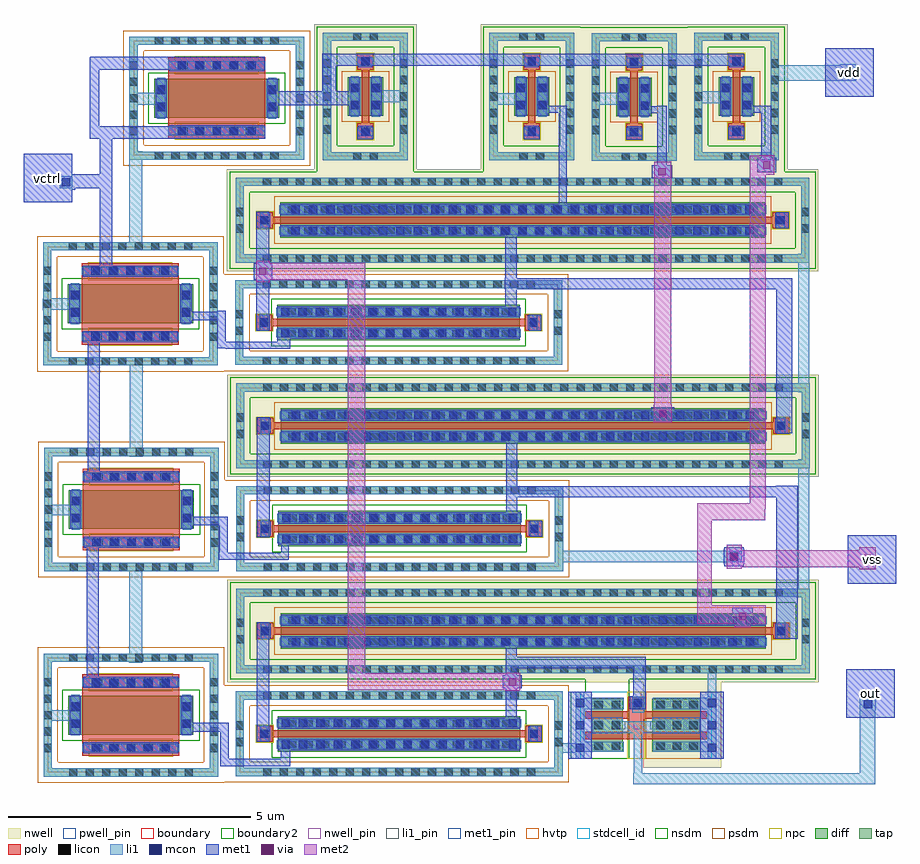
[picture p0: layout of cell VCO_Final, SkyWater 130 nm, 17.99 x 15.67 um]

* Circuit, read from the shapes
.subckt VCO_Final out vctrl vdd vss
XM1 n1 vctrl vss vss sky130_fd_pr__nfet_01v8 w=0.8 l=2
XM2 n2 vctrl vss vss sky130_fd_pr__nfet_01v8 w=0.8 l=2
XM3 n3 vctrl vss vss sky130_fd_pr__nfet_01v8 w=0.8 l=2
XM4 n4 vctrl vss vss sky130_fd_pr__nfet_01v8 w=0.8 l=2
XM5 n5 sky130_fd_sc_hd__inv_2_3/A n1 vss sky130_fd_pr__nfet_01v8 w=5 l=0.15
XM6 sky130_fd_sc_hd__inv_2_3/A n6 n2 vss sky130_fd_pr__nfet_01v8 w=5 l=0.15
XM7 n6 n5 n3 vss sky130_fd_pr__nfet_01v8 w=5 l=0.15
XM8 out sky130_fd_sc_hd__inv_2_3/A vss vss sky130_fd_pr__nfet_01v8 w=0.65 l=0.15 m=2
XM9 n7 sky130_fd_sc_hd__inv_2_3/A n5 vdd sky130_fd_pr__pfet_01v8 w=10 l=0.15
XM10 n8 n6 sky130_fd_sc_hd__inv_2_3/A vdd sky130_fd_pr__pfet_01v8 w=10 l=0.15
XM11 n9 n5 n6 vdd sky130_fd_pr__pfet_01v8 w=10 l=0.15
XM12 vdd n4 n4 vdd sky130_fd_pr__pfet_01v8 w=0.8 l=0.15
XM13 n7 n4 vdd vdd sky130_fd_pr__pfet_01v8 w=0.8 l=0.15
XM14 n9 n4 vdd vdd sky130_fd_pr__pfet_01v8 w=0.8 l=0.15
XM15 out sky130_fd_sc_hd__inv_2_3/A vdd vdd sky130_fd_pr__pfet_01v8_hvt w=1 l=0.15 m=2
XM16 n8 n4 vdd vdd sky130_fd_pr__pfet_01v8 w=0.8 l=0.15
.ends

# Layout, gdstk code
from math import pi, radians
import gdstk
lib = gdstk.Library(unit=1e-6, precision=1e-09)
def R(c, l, rs):  # rectangles x0, y0, x1, y1
    for r in rs: c.add(gdstk.rectangle(r[:2], r[2:], *l))
def A(c, l, x, y, w, h, nx, ny, dx, dy):  # array of equal rectangles
    R(c, l, [(x+i*dx, y+j*dy, x+i*dx+w, y+j*dy+h) for i in range(nx) for j in range(ny)])
def P(c, l, *ps):  # polygons
    for p in ps: c.add(gdstk.Polygon(p, *l))
nwell_pin = (64, 16)
nwell = (64, 20)
diff = (65, 20)
tap = (65, 44)
poly = (66, 20)
licon = (66, 44)
li1_pin = (67, 16)
li1 = (67, 20)
mcon = (67, 44)
met1_pin = (68, 16)
met1 = (68, 20)
via = (68, 44)
met2 = (69, 20)
hvtp = (78, 44)
stdcell_id = (81, 4)
nsdm = (93, 44)
psdm = (94, 20)
npc = (95, 20)
pwell_pin = (122, 16)
boundary = (235, 4)
boundary2 = (236, 0)

sky130_fd_pr__pfet_01v8_ = lib.new_cell('sky130_fd_pr__pfet_01v8_XGA8MR')
R(sky130_fd_pr__pfet_01v8_, nwell, [(-1.055,-6.095,1.055,6.095)])
R(sky130_fd_pr__pfet_01v8_, diff, [(-0.365,-5,0.365,5)])
R(sky130_fd_pr__pfet_01v8_, tap, [(-0.875,-5.915,0.875,-5.745), (-0.875,-5.745,-0.705,5.745), (0.705,-5.745,0.875,5.745), (-0.875,5.745,0.875,5.915)])
R(sky130_fd_pr__pfet_01v8_, poly, [(-0.165,-5.485,0.165,-5.155), (-0.075,-5.155,0.075,5.155), (-0.165,5.155,0.165,5.485)])
A(sky130_fd_pr__pfet_01v8_, licon, -0.875, -5.355, 0.17, 0.17, 1, 32, 0, 0.34)
A(sky130_fd_pr__pfet_01v8_, licon, 0.705, -5.355, 0.17, 0.17, 1, 32, 0, 0.34)
A(sky130_fd_pr__pfet_01v8_, licon, -0.305, -4.845, 0.17, 0.17, 1, 29, 0, 0.34)
A(sky130_fd_pr__pfet_01v8_, licon, 0.135, -4.845, 0.17, 0.17, 1, 29, 0, 0.34)
R(sky130_fd_pr__pfet_01v8_, licon, [(-0.255,-5.915,-0.085,-5.745), (0.085,-5.915,0.255,-5.745), (-0.085,-5.405,0.085,-5.235), (-0.085,5.235,0.085,5.405), (-0.255,5.745,-0.085,5.915), (0.085,5.745,0.255,5.915)])
R(sky130_fd_pr__pfet_01v8_, li1, [(-0.875,-5.915,0.875,-5.745), (-0.875,-5.745,-0.705,5.745), (0.705,-5.745,0.875,5.745), (-0.165,-5.405,0.165,-5.235), (-0.305,-5.02,-0.135,5.02), (0.135,-5.02,0.305,5.02), (-0.165,5.235,0.165,5.405), (-0.875,5.745,0.875,5.915)])
A(sky130_fd_pr__pfet_01v8_, mcon, -0.305, -4.765, 0.17, 0.17, 1, 27, 0, 0.36)
A(sky130_fd_pr__pfet_01v8_, mcon, 0.135, -4.765, 0.17, 0.17, 1, 27, 0, 0.36)
R(sky130_fd_pr__pfet_01v8_, mcon, [(-0.085,-5.405,0.085,-5.235), (-0.085,5.235,0.085,5.405)])
R(sky130_fd_pr__pfet_01v8_, met1, [(-0.145,-5.435,0.145,-5.205), (-0.335,-5,-0.105,5), (0.105,-5,0.335,5), (-0.145,5.205,0.145,5.435)])
R(sky130_fd_pr__pfet_01v8_, nsdm, [(-1,-6.04,1,-5.62), (-1,-5.62,-0.58,5.62), (0.58,-5.62,1,5.62), (-1,5.62,1,6.04)])
R(sky130_fd_pr__pfet_01v8_, psdm, [(-0.49,-5.125,0.49,5.125)])
R(sky130_fd_pr__pfet_01v8_, npc, [(-0.185,-5.505,0.185,-5.135), (-0.185,5.135,0.185,5.505)])
R(sky130_fd_pr__pfet_01v8_, boundary, [(-0.79,-5.83,0.79,5.83)])

sky130_fd_pr__nfet_01v8_ = lib.new_cell('sky130_fd_pr__nfet_01v8_MMRDEV')
R(sky130_fd_pr__nfet_01v8_, diff, [(-1.29,-0.4,1.29,0.4)])
R(sky130_fd_pr__nfet_01v8_, tap, [(-1.8,-1.27,1.8,-1.1), (-1.8,-1.1,-1.63,1.1), (1.63,-1.1,1.8,1.1), (-1.8,1.1,1.8,1.27)])
R(sky130_fd_pr__nfet_01v8_, poly, [(-1,-0.84,1,0.84)])
A(sky130_fd_pr__nfet_01v8_, licon, -1.275, -1.27, 0.17, 0.17, 8, 2, 0.34, 2.37)
A(sky130_fd_pr__nfet_01v8_, licon, -1.8, -0.765, 0.17, 0.17, 1, 5, 0, 0.34)
A(sky130_fd_pr__nfet_01v8_, licon, 1.63, -0.765, 0.17, 0.17, 1, 5, 0, 0.34)
A(sky130_fd_pr__nfet_01v8_, licon, -0.765, -0.76, 0.17, 0.17, 5, 2, 0.34, 1.35)
R(sky130_fd_pr__nfet_01v8_, licon, [(-1.23,-0.255,-1.06,-0.085), (1.06,-0.255,1.23,-0.085), (-1.23,0.085,-1.06,0.255), (1.06,0.085,1.23,0.255)])
R(sky130_fd_pr__nfet_01v8_, li1, [(-1.8,-1.27,1.8,-1.1), (-1.8,-1.1,-1.63,1.1), (1.63,-1.1,1.8,1.1), (-1,-0.76,1,-0.59), (-1.23,-0.42,-1.06,0.42), (1.06,-0.42,1.23,0.42), (-1,0.59,1,0.76), (-1.8,1.1,1.8,1.27)])
A(sky130_fd_pr__nfet_01v8_, mcon, -0.805, -0.76, 0.17, 0.17, 5, 2, 0.36, 1.35)
R(sky130_fd_pr__nfet_01v8_, mcon, [(-1.23,-0.265,-1.06,-0.095), (1.06,-0.265,1.23,-0.095), (-1.23,0.095,-1.06,0.265), (1.06,0.095,1.23,0.265)])
R(sky130_fd_pr__nfet_01v8_, met1, [(-0.98,-0.79,0.98,-0.56), (-1.26,-0.4,-1.03,0.4), (1.03,-0.4,1.26,0.4), (-0.98,0.56,0.98,0.79)])
R(sky130_fd_pr__nfet_01v8_, nsdm, [(-1.415,-0.525,1.415,0.525)])
R(sky130_fd_pr__nfet_01v8_, psdm, [(-1.925,-1.395,1.925,-0.975), (-1.925,-0.975,-1.505,0.975), (1.505,-0.975,1.925,0.975), (-1.925,0.975,1.925,1.395)])
R(sky130_fd_pr__nfet_01v8_, npc, [(-0.865,-0.86,0.865,-0.49), (-0.865,0.49,0.865,0.86)])
R(sky130_fd_pr__nfet_01v8_, boundary, [(-1.71,-1.18,1.71,1.18)])

c_sky130_fd_pr__nfet_01v8_ = lib.new_cell('sky130_fd_pr__nfet_01v8_BBNS5X')
R(c_sky130_fd_pr__nfet_01v8_, diff, [(-0.365,-2.5,0.365,2.5)])
R(c_sky130_fd_pr__nfet_01v8_, tap, [(-0.875,-3.37,0.875,-3.2), (-0.875,-3.2,-0.705,3.2), (0.705,-3.2,0.875,3.2), (-0.875,3.2,0.875,3.37)])
R(c_sky130_fd_pr__nfet_01v8_, poly, [(-0.165,-2.94,0.165,-2.61), (-0.075,-2.61,0.075,2.61), (-0.165,2.61,0.165,2.94)])
A(c_sky130_fd_pr__nfet_01v8_, licon, -0.875, -2.805, 0.17, 0.17, 1, 17, 0, 0.34)
A(c_sky130_fd_pr__nfet_01v8_, licon, 0.705, -2.805, 0.17, 0.17, 1, 17, 0, 0.34)
A(c_sky130_fd_pr__nfet_01v8_, licon, -0.305, -2.295, 0.17, 0.17, 1, 14, 0, 0.34)
A(c_sky130_fd_pr__nfet_01v8_, licon, 0.135, -2.295, 0.17, 0.17, 1, 14, 0, 0.34)
R(c_sky130_fd_pr__nfet_01v8_, licon, [(-0.255,-3.37,-0.085,-3.2), (0.085,-3.37,0.255,-3.2), (-0.085,-2.86,0.085,-2.69), (-0.085,2.69,0.085,2.86), (-0.255,3.2,-0.085,3.37), (0.085,3.2,0.255,3.37)])
R(c_sky130_fd_pr__nfet_01v8_, li1, [(-0.875,-3.37,0.875,-3.2), (-0.875,-3.2,-0.705,3.2), (0.705,-3.2,0.875,3.2), (-0.165,-2.86,0.165,-2.69), (-0.305,-2.52,-0.135,2.52), (0.135,-2.52,0.305,2.52), (-0.165,2.69,0.165,2.86), (-0.875,3.2,0.875,3.37)])
A(c_sky130_fd_pr__nfet_01v8_, mcon, -0.305, -2.425, 0.17, 0.17, 1, 14, 0, 0.36)
A(c_sky130_fd_pr__nfet_01v8_, mcon, 0.135, -2.425, 0.17, 0.17, 1, 14, 0, 0.36)
R(c_sky130_fd_pr__nfet_01v8_, mcon, [(-0.085,-2.86,0.085,-2.69), (-0.085,2.69,0.085,2.86)])
R(c_sky130_fd_pr__nfet_01v8_, met1, [(-0.145,-2.89,0.145,-2.66), (-0.335,-2.5,-0.105,2.5), (0.105,-2.5,0.335,2.5), (-0.145,2.66,0.145,2.89)])
R(c_sky130_fd_pr__nfet_01v8_, nsdm, [(-0.49,-2.625,0.49,2.625)])
R(c_sky130_fd_pr__nfet_01v8_, psdm, [(-1,-3.495,1,-3.075), (-1,-3.075,-0.58,3.075), (0.58,-3.075,1,3.075), (-1,3.075,1,3.495)])
R(c_sky130_fd_pr__nfet_01v8_, npc, [(-0.185,-2.96,0.185,-2.59), (-0.185,2.59,0.185,2.96)])
R(c_sky130_fd_pr__nfet_01v8_, boundary, [(-0.79,-3.285,0.79,3.285)])

sky130_fd_sc_hd__inv_2 = lib.new_cell('sky130_fd_sc_hd__inv_2')
R(sky130_fd_sc_hd__inv_2, nwell_pin, [(0.145,2.635,0.315,2.805)])
R(sky130_fd_sc_hd__inv_2, nwell, [(-0.19,1.305,1.57,2.91)])
R(sky130_fd_sc_hd__inv_2, diff, [(0.145,0.235,1.235,0.885), (0.145,1.485,1.235,2.485)])
P(sky130_fd_sc_hd__inv_2, poly, [(0.975,2.615),(0.825,2.615),(0.825,1.325),(0.555,1.325),(0.555,2.615),(0.405,2.615),(0.405,1.325),(0.105,1.325),(0.105,0.995),(0.405,0.995),(0.405,0.105),(0.555,0.105),(0.555,0.995),(0.825,0.995),(0.825,0.105),(0.975,0.105)])
A(sky130_fd_sc_hd__inv_2, licon, 0.185, 0.295, 0.17, 0.17, 3, 2, 0.42, 0.36)
A(sky130_fd_sc_hd__inv_2, licon, 0.185, 1.575, 0.17, 0.17, 3, 3, 0.42, 0.34)
R(sky130_fd_sc_hd__inv_2, licon, [(0.185,1.075,0.355,1.245)])
A(sky130_fd_sc_hd__inv_2, li1_pin, 0.605, 0.765, 0.17, 0.17, 1, 3, 0, 0.34)
R(sky130_fd_sc_hd__inv_2, li1_pin, [(0.145,1.105,0.315,1.275)])
R(sky130_fd_sc_hd__inv_2, li1, [(0.105,1.075,0.435,1.325)])
P(sky130_fd_sc_hd__inv_2, li1, [(1.38,2.805),(0,2.805),(0,2.635),(0.125,2.635),(0.125,1.495),(0.355,1.495),(0.355,2.635),(1.025,2.635),(1.025,1.495),(1.235,1.495),(1.235,2.635),(1.38,2.635)],
  [(0.855,2.465),(0.525,2.465),(0.525,1.485),(0.605,1.485),(0.605,0.885),(0.525,0.885),(0.525,0.255),(0.855,0.255)],
  [(1.38,0.085),(1.235,0.085),(1.235,0.905),(1.025,0.905),(1.025,0.085),(0.355,0.085),(0.355,0.905),(0.125,0.905),(0.125,0.085),(0,0.085),(0,-0.085),(1.38,-0.085)])
A(sky130_fd_sc_hd__inv_2, mcon, 0.145, -0.085, 0.17, 0.17, 3, 2, 0.46, 2.72)
R(sky130_fd_sc_hd__inv_2, met1_pin, [(0.145,-0.085,0.315,0.085), (0.145,2.635,0.315,2.805)])
R(sky130_fd_sc_hd__inv_2, hvtp, [(0,1.25,1.38,2.72)])
R(sky130_fd_sc_hd__inv_2, stdcell_id, [(0,0,1.38,2.72)])
R(sky130_fd_sc_hd__inv_2, nsdm, [(0,-0.19,1.38,1.015)])
R(sky130_fd_sc_hd__inv_2, psdm, [(0,1.355,1.38,2.91)])
R(sky130_fd_sc_hd__inv_2, npc, [(0,0.975,1.38,1.345)])
R(sky130_fd_sc_hd__inv_2, pwell_pin, [(0.145,-0.085,0.315,0.085)])
R(sky130_fd_sc_hd__inv_2, boundary2, [(0,0,1.38,2.72)])
sky130_fd_sc_hd__inv_2.add(gdstk.FlexPath([(0,2.72),(1.38,2.72)], 0.48, ends="flush", simple_path=True, layer=68, datatype=20))  # met1
sky130_fd_sc_hd__inv_2.add(gdstk.FlexPath([(0,0),(1.38,0)], 0.48, ends="flush", simple_path=True, layer=68, datatype=20))  # met1
sky130_fd_sc_hd__inv_2.add(gdstk.Label('A', (0.23,1.19), layer=67, texttype=5))
sky130_fd_sc_hd__inv_2.add(gdstk.Label('Y', (0.69,0.85), layer=67, texttype=5))
sky130_fd_sc_hd__inv_2.add(gdstk.Label('Y', (0.69,1.53), layer=67, texttype=5))
sky130_fd_sc_hd__inv_2.add(gdstk.Label('Y', (0.69,1.19), layer=67, texttype=5))
sky130_fd_sc_hd__inv_2.add(gdstk.Label('VPB', (0.23,2.72), layer=64, texttype=5))
sky130_fd_sc_hd__inv_2.add(gdstk.Label('VNB', (0.23,0), layer=64, texttype=59))
sky130_fd_sc_hd__inv_2.add(gdstk.Label('VPWR', (0.23,2.72), layer=68, texttype=5))
sky130_fd_sc_hd__inv_2.add(gdstk.Label('VGND', (0.23,0), layer=68, texttype=5))
sky130_fd_sc_hd__inv_2.add(gdstk.Label('inv_2', (0,0), layer=83, texttype=44))

c_sky130_fd_pr__pfet_01v8_ = lib.new_cell('sky130_fd_pr__pfet_01v8_XYUFBL')
R(c_sky130_fd_pr__pfet_01v8_, nwell, [(-1.055,-1.495,1.055,1.495)])
R(c_sky130_fd_pr__pfet_01v8_, diff, [(-0.365,-0.4,0.365,0.4)])
R(c_sky130_fd_pr__pfet_01v8_, tap, [(-0.875,-1.315,0.875,-1.145), (-0.875,-1.145,-0.705,1.145), (0.705,-1.145,0.875,1.145), (-0.875,1.145,0.875,1.315)])
R(c_sky130_fd_pr__pfet_01v8_, poly, [(-0.165,-0.885,0.165,-0.555), (-0.075,-0.555,0.075,0.555), (-0.165,0.555,0.165,0.885)])
A(c_sky130_fd_pr__pfet_01v8_, licon, -0.875, -0.765, 0.17, 0.17, 1, 5, 0, 0.34)
A(c_sky130_fd_pr__pfet_01v8_, licon, 0.705, -0.765, 0.17, 0.17, 1, 5, 0, 0.34)
R(c_sky130_fd_pr__pfet_01v8_, licon, [(-0.255,-1.315,-0.085,-1.145), (0.085,-1.315,0.255,-1.145), (-0.085,-0.805,0.085,-0.635), (-0.305,-0.255,-0.135,-0.085), (0.135,-0.255,0.305,-0.085), (-0.305,0.085,-0.135,0.255), (0.135,0.085,0.305,0.255), (-0.085,0.635,0.085,0.805), (-0.255,1.145,-0.085,1.315), (0.085,1.145,0.255,1.315)])
R(c_sky130_fd_pr__pfet_01v8_, li1, [(-0.875,-1.315,0.875,-1.145), (-0.875,-1.145,-0.705,1.145), (0.705,-1.145,0.875,1.145), (-0.165,-0.805,0.165,-0.635), (-0.305,-0.42,-0.135,0.42), (0.135,-0.42,0.305,0.42), (-0.165,0.635,0.165,0.805), (-0.875,1.145,0.875,1.315)])
R(c_sky130_fd_pr__pfet_01v8_, mcon, [(-0.085,-0.805,0.085,-0.635), (-0.305,-0.265,-0.135,-0.095), (0.135,-0.265,0.305,-0.095), (-0.305,0.095,-0.135,0.265), (0.135,0.095,0.305,0.265), (-0.085,0.635,0.085,0.805)])
R(c_sky130_fd_pr__pfet_01v8_, met1, [(-0.145,-0.835,0.145,-0.605), (-0.335,-0.4,-0.105,0.4), (0.105,-0.4,0.335,0.4), (-0.145,0.605,0.145,0.835)])
R(c_sky130_fd_pr__pfet_01v8_, nsdm, [(-1,-1.44,1,-1.02), (-1,-1.02,-0.58,1.02), (0.58,-1.02,1,1.02), (-1,1.02,1,1.44)])
R(c_sky130_fd_pr__pfet_01v8_, psdm, [(-0.49,-0.525,0.49,0.525)])
R(c_sky130_fd_pr__pfet_01v8_, npc, [(-0.185,-0.905,0.185,-0.535), (-0.185,0.535,0.185,0.905)])
R(c_sky130_fd_pr__pfet_01v8_, boundary, [(-0.79,-1.23,0.79,1.23)])

vco_final = lib.new_cell('VCO_Final')
R(vco_final, nwell, [(17.38,13.64,18.99,13.67), (17.38,13.67,17.46,13.69)])
R(vco_final, li1, [(17.18,11.56,22.17,11.78), (17.19,11.78,17.36,12.77), (21.85,11.78,22.17,13.08), (15.55,12.2,16.17,12.4), (5.02,12.86,5.76,13.08), (21.85,13.08,22.18,13.33), (17.17,13.13,17.38,13.34), (18.71,13.14,18.89,14.01), (6.79,14.06,7.05,16.11), (20.58,15.41,20.81,18.26), (15.56,16.13,19.41,16.37), (5.03,17.1,5.77,17.32), (6.8,18.31,7.06,20.36), (20.58,19.64,20.81,22.49), (5,21.34,5.74,21.36), (5,21.36,5.75,21.56), (5.01,21.56,5.75,21.58), (6.79,22.56,7.05,24.61), (5.35,23.84,5.61,24.09), (14.23,25.56,14.96,25.8), (6.79,25.57,7.52,25.81), (16.33,25.57,17.06,25.81), (18.43,25.6,19.16,25.84), (11.79,25.62,12.52,25.86), (20.01,26.06,21.77,26.38), (21.45,26.38,21.76,26.4)])
R(vco_final, mcon, [(21.93,13.12,22.1,13.29), (17.19,13.15,17.36,13.32), (19.17,16.165,19.34,16.335), (5.395,23.88,5.565,24.05), (21.52,26.15,21.69,26.32)])
R(vco_final, met1_pin, [(21.57,12.93,22.57,13.93), (21.6,15.69,22.6,16.69), (4.61,23.55,5.61,24.55), (21.14,25.73,22.14,26.73)])
R(vco_final, met1, [(8.66,11.93,10.1,12.08), (8.66,12.08,8.84,12.64), (9.91,12.08,10.1,12.46), (9.41,12.43,9.67,14.89), (15.04,12.43,15.29,12.76), (7.88,12.64,8.84,12.82), (14.55,12.74,14.78,13.53), (21.57,12.93,22.57,13.93), (17.11,13.1,17.44,13.37), (17.18,13.37,17.43,13.95), (14.49,13.53,14.88,13.8), (5.91,13.64,6.16,16.54), (14.55,13.8,14.78,13.95), (14.55,13.95,17.43,14.18), (14.55,14.18,14.78,14.58), (20.13,14.55,20.57,17.47), (19.22,14.84,19.64,15.19), (21.6,15.69,22.6,16.69), (19.05,16.05,19.46,16.1), (19.04,16.1,19.47,16.4), (8.63,16.18,10.07,16.33), (8.64,16.33,8.82,16.89), (9.92,16.33,10.07,16.61), (19.05,16.4,19.46,16.44), (9.41,16.65,9.68,19.12), (15.05,16.66,15.3,16.99), (7.88,16.89,8.82,17.07), (14.56,16.96,14.79,17.47), (14.56,17.47,20.57,17.7), (14.56,17.7,14.79,18.82), (20.13,17.7,20.57,17.71), (5.93,17.89,6.18,20.79), (20.14,18.78,20.39,18.79), (20.13,18.79,20.46,21.76), (17.55,19.07,18.02,19.33), (8.77,20.53,10.11,20.54), (8.6,20.54,10.11,20.68), (8.6,20.68,8.78,21.12), (9.84,20.68,10.11,20.82), (9.4,20.91,9.67,21.96), (15.03,20.91,15.28,21.24), (7.86,21.12,8.78,21.3), (14.54,21.21,14.78,21.76), (8.6,21.3,8.78,21.32), (14.53,21.76,20.46,21.99), (9.35,21.96,9.73,22.3), (14.54,21.99,14.78,23.05), (6.18,22.03,6.43,22.05), (6.18,22.22,6.43,23.84), (9.4,22.3,9.67,23.36), (20.13,23.02,20.38,23.35), (15.64,23.32,15.81,25.4), (4.61,23.55,5.61,23.81), (4.61,23.81,5.67,23.84), (4.61,23.84,6.44,24.13), (17.56,24.05,17.98,24.32), (4.61,24.13,5.61,24.55), (6.18,24.13,6.43,24.86), (19.73,24.17,20.13,24.47), (17.67,24.32,17.87,25.39), (19.82,24.47,20.02,25.4), (17.03,24.84,17.36,25.09), (11.49,24.85,11.82,25.1), (14.92,24.85,15.25,25.1), (19.14,24.85,19.47,25.1), (5.97,24.86,9.59,25.12), (5.97,25.12,6.17,26.29), (17.31,25.39,17.87,25.53), (15.22,25.4,15.81,25.53), (19.45,25.4,20.02,25.54), (15.42,25.53,15.81,25.54), (17.67,25.53,17.87,25.54), (9.65,25.55,11.54,25.84), (21.14,25.73,22.14,26.73), (10.76,25.84,11.05,26.37), (5.97,26.29,9.58,26.54), (10.76,26.37,19.47,26.62), (5.98,26.54,9.58,26.55)])
R(vco_final, via, [(14.61,13.59,14.76,13.74), (19.355,14.94,19.505,15.09), (21.935,16.14,22.085,16.29), (19.18,16.17,19.33,16.32), (17.71,19.125,17.86,19.275), (9.465,22.055,9.615,22.205), (17.695,24.11,17.845,24.26), (19.855,24.245,20.005,24.395)])
R(vco_final, met2, [(14.54,13.48,14.83,13.49), (11.29,13.49,14.85,13.84), (11.29,13.84,11.65,21.96), (14.54,13.84,14.83,13.85), (19.27,14.79,19.59,14.85), (19.26,14.85,19.91,14.86), (18.5,14.86,19.91,15.25), (18.5,15.25,18.8,17), (21.84,15.99,22.18,16.03), (19.1,16,19.41,16.03), (19.1,16.03,22.18,16.38), (19.1,16.38,19.41,16.49), (21.84,16.38,22.18,16.44), (18.5,17,19.9,17.24), (18.5,17.24,19.91,17.35), (19.58,17.35,19.91,24.12), (17.6,19.02,17.97,19.38), (17.61,19.38,17.96,24.39), (9.4,21.91,9.68,21.96), (9.4,21.96,11.65,22.31), (9.4,22.31,9.68,22.35), (19.58,24.12,20.08,24.51), (19.78,24.51,20.08,24.52)])
R(vco_final, nsdm, [(16.19,13.44,17.09,13.715), (10.655,24.185,12.655,24.295), (14.085,24.185,20.305,24.285), (14.085,24.285,16.195,24.295), (18.195,24.285,20.305,24.295), (16.085,24.295,16.195,27.165), (18.195,24.295,18.305,27.165)])
R(vco_final, psdm, [(8.745,11.595,8.855,13.595), (8.755,15.825,8.865,17.825), (8.735,20.075,8.845,22.075)])
vco_final.add(gdstk.Reference(sky130_fd_pr__pfet_01v8_, (14.905,14.715), rotation=3*pi/2))
vco_final.add(gdstk.Reference(sky130_fd_pr__nfet_01v8_, (6.82,12.98), rotation=pi, x_reflection=True))
vco_final.add(gdstk.Reference(c_sky130_fd_pr__nfet_01v8_, (12.35,12.595), rotation=pi/2, x_reflection=True))
vco_final.add(gdstk.Reference(sky130_fd_sc_hd__inv_2, (16.08,13.46), rotation=3*pi/2))
vco_final.add(gdstk.Reference(sky130_fd_pr__nfet_01v8_, (6.83,17.22)))
vco_final.add(gdstk.Reference(c_sky130_fd_pr__nfet_01v8_, (12.36,16.825), rotation=3*pi/2))
vco_final.add(gdstk.Reference(sky130_fd_pr__pfet_01v8_, (14.905,18.945), rotation=3*pi/2))
vco_final.add(gdstk.Reference(sky130_fd_pr__nfet_01v8_, (6.81,21.46)))
vco_final.add(gdstk.Reference(c_sky130_fd_pr__nfet_01v8_, (12.34,21.075), rotation=3*pi/2))
vco_final.add(gdstk.Reference(sky130_fd_pr__pfet_01v8_, (14.895,23.185), rotation=3*pi/2))
vco_final.add(gdstk.Reference(sky130_fd_pr__nfet_01v8_, (8.59,25.7), rotation=pi))
vco_final.add(gdstk.Reference(c_sky130_fd_pr__pfet_01v8_, (11.655,25.735)))
vco_final.add(gdstk.Reference(c_sky130_fd_pr__pfet_01v8_, (17.195,25.725)))
vco_final.add(gdstk.Reference(c_sky130_fd_pr__pfet_01v8_, (19.305,25.735)))
vco_final.add(gdstk.Reference(c_sky130_fd_pr__pfet_01v8_, (15.085,25.735)))
vco_final.add(gdstk.Label('vdd', (21.64,26.23), layer=68, texttype=5))
vco_final.add(gdstk.Label('vss', (22.1,16.19), layer=68, texttype=5))
vco_final.add(gdstk.Label('vctrl', (5.11,24.05), layer=68, texttype=5))
vco_final.add(gdstk.Label('out', (22.07,13.43), layer=68, texttype=5))

lib.write_gds('VCO_Final.gds')
